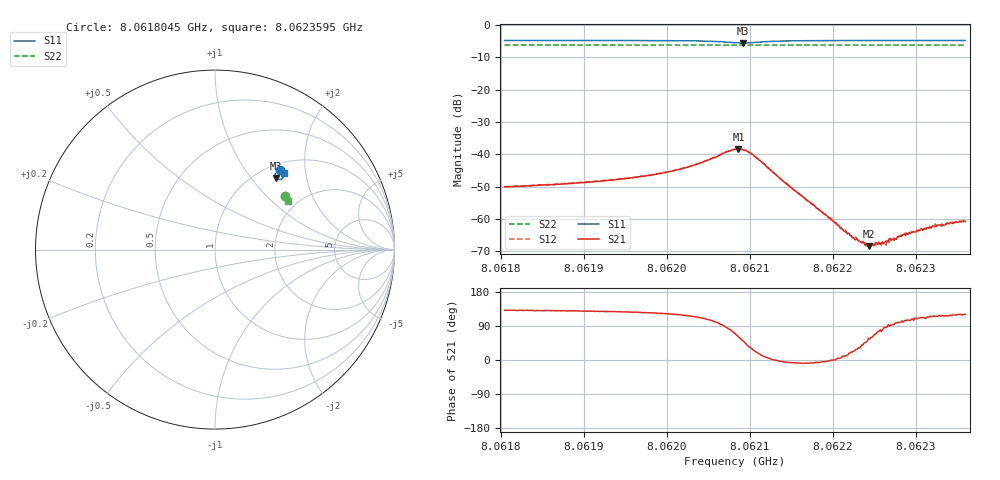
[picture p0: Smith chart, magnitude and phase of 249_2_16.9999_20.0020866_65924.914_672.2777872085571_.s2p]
#  HZ  S  RI  R  50.00
! Rohde & Schwarz Vector Network Analyzer
! Rohde-Schwarz,ZNB20-2Port,1311601062101988,3.16
! Created: UTC 3/20/2024, 11:03:12 PM
! freq[Hz]  re:S11  im:S11  re:S21  im:S21  re:S12  im:S12  re:S22  im:S22
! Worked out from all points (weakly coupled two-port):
!   401 points, 8.0618045 GHz to 8.0623595 GHz, reference 50 ohm
!   highest |S21| = -38.31 dB at 8.0620862 GHz (marker M1); lowest = -68.4 dB at 8.062243 GHz (marker M2)
!   lowest |S11| = -5.6 dB at 8.0620917 GHz (marker M3), VSWR 3.20, Z = 61.3 + j67.2 ohm
!   |S11| at or under -10 dB: nowhere
!   |S22| runs from -6.2 to -6.2 dB; largest |S21 - S12| = 0.00089
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8.06180453e9  0.3643 0.446  -0.00208 0.00235  -0.00194 0.00251  0.3897 0.2967
8.06189749e9  0.371 0.4398  -0.0023 0.00284  -0.00216 0.00298  0.393 0.2924
8.06195438e9  0.3758 0.4349  -0.00254 0.00343  -0.00237 0.00361  0.3951 0.2894
8.06199046e9  0.3792 0.4299  -0.00276 0.00421  -0.00248 0.00438  0.3963 0.2875
8.06203069e9  0.3831 0.4201  -0.00285 0.00602  -0.00251 0.00627  0.3976 0.285
8.06208203e9  0.3577 0.3904  0.00414 0.0112  0.00488 0.0109  0.3977 0.2818
8.06208619e9  0.3505 0.3919  0.00578 0.0107  0.00646 0.0103  0.3974 0.2818
8.06209174e9  0.3417 0.3974  0.00753 0.00905  0.00812 0.00861  0.3974 0.282
8.06210007e9  0.3349 0.4105  0.00875 0.00595  0.00918 0.00518  0.3975 0.2822
8.06210839e9  0.3359 0.4231  0.0081 0.00299  0.00845 0.00261  0.3981 0.2823
8.0621403e9  0.3552 0.4391  0.0038 -0.000312  0.00379 -0.000526  0.4001 0.2813
8.06217499e9  0.3667 0.4385  0.00168 -0.000212  0.00166 -0.000341  0.4017 0.2794
8.06222078e9  0.3745 0.4353  0.000536 0.000181  0.000534 0.000152  0.4035 0.277
8.06222494e9  0.3751 0.4351  0.00047 0.000205  0.000481 0.000128  0.4035 0.2767
8.0622402e9  0.3768 0.4342  0.000276 0.000303  0.000234 0.000304  0.4042 0.2758
8.06224298e9  0.3771 0.4339  0.000206 0.000319  0.000247 0.000309  0.4042 0.2758
8.06226101e9  0.3791 0.4327  4.71e-05 0.000413  8.64e-05 0.000418  0.4048 0.2748
8.06226795e9  0.3795 0.4323  8.64e-06 0.000499  2.58e-05 0.000438  0.4051 0.2745
8.0622735e9  0.3802 0.4319  -2.48e-05 0.000467  -2.96e-05 0.000508  0.4054 0.2742
8.06228876e9  0.3816 0.4309  -0.00015 0.000583  -9.68e-05 0.000594  0.4058 0.2733
8.06232345e9  0.3843 0.4289  -0.000317 0.000691  -0.00031 0.000777  0.4071 0.2717
8.06235952e9  0.3869 0.4267  -0.000462 0.00079  -0.00044 0.000819  0.4082 0.27
